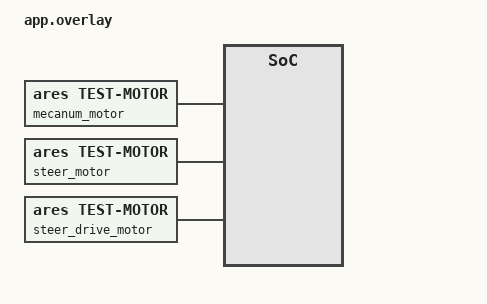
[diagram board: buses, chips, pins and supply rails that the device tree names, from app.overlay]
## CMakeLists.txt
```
# SPDX-License-Identifier: Apache-2.0

cmake_minimum_required(VERSION 3.20.0)
find_package(Zephyr REQUIRED HINTS $ENV{ZEPHYR_BASE})
project(ares_native_sim_wheel_chassis)

target_sources(app PRIVATE src/main.c)
```

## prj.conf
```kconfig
# SPDX-License-Identifier: Apache-2.0

CONFIG_ZTEST=y
CONFIG_CBPRINTF_FP_SUPPORT=y
CONFIG_MAIN_STACK_SIZE=4096

CONFIG_MOTOR=y
CONFIG_MOTOR_LOG_LEVEL=0
CONFIG_PID=y
CONFIG_CMSIS_DSP=y
CONFIG_CMSIS_DSP_FASTMATH=y
CONFIG_WHEEL=y
CONFIG_CHASSIS=y
CONFIG_CHASSIS_LOG_LEVEL=0
CONFIG_CHASSIS_INIT_PRIORITY=90
```

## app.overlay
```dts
/*
 * SPDX-License-Identifier: Apache-2.0
 */

/ {
	test_pid: test_pid {
		compatible = "pid,single";
		status = "okay";
		k_p = "1.0";
		k_i = "0.0";
		k_d = "0.0";
		out_max = "10.0";
	};

	mecanum_motor: mecanum_motor {
		compatible = "ares,test-motor";
		status = "okay";
	};

	mecanum0: mecanum0 {
		compatible = "ares,mecanum";
		status = "okay";
		wheel-motor = <&mecanum_motor>;
		wheel-radius = "0.1";
		angle-offset = "0";
		free-angle = "0";
	};

	steer_motor: steer_motor {
		compatible = "ares,test-motor";
		status = "okay";
	};

	steer_drive_motor: steer_drive_motor {
		compatible = "ares,test-motor";
		status = "okay";
	};

	steer0: steer0 {
		compatible = "ares,steerwheel";
		status = "okay";
		steer-motor = <&steer_motor>;
		wheel-motor = <&steer_drive_motor>;
		wheel-radius = "0.1";
		angle-offset = "0";
	};

	chassis_wheel0: chassis_wheel0 {
		compatible = "ares,test-wheel";
		status = "okay";
		#wheel-cells = <2>;
	};

	chassis_wheel1: chassis_wheel1 {
		compatible = "ares,test-wheel";
		status = "okay";
		#wheel-cells = <2>;
	};

	chassis_wheel2: chassis_wheel2 {
		compatible = "ares,test-wheel";
		status = "okay";
		#wheel-cells = <2>;
	};

	chassis_wheel3: chassis_wheel3 {
		compatible = "ares,test-wheel";
		status = "okay";
		#wheel-cells = <2>;
	};

	chassis0: chassis0 {
		compatible = "ares,chassis";
		status = "okay";
		angle-pid = <&test_pid>;
		max_gyro = "5.0";
		max_linear_accel = "20.0";
		wheels = <&chassis_wheel0 10000 10000>,
			 <&chassis_wheel1 10000 (-10000)>,
			 <&chassis_wheel2 (-10000) (-10000)>,
			 <&chassis_wheel3 (-10000) 10000>;
	};
};
```

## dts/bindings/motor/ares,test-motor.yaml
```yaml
# SPDX-License-Identifier: Apache-2.0

description: Test motor device

compatible: "ares,test-motor"

include: [base.yaml]
```

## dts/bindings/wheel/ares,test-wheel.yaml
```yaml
# SPDX-License-Identifier: Apache-2.0

description: Test wheel device

compatible: "ares,test-wheel"

include: [base.yaml]

wheel-cells:
  - offset_x
  - offset_y
```

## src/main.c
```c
/*
 * Copyright (c) 2026 ttwards
 *
 * SPDX-License-Identifier: Apache-2.0
 */

#include <math.h>
#include <stdbool.h>
#include <stdint.h>
#include <string.h>

#include <zephyr/device.h>
#include <zephyr/drivers/chassis.h>
#include <zephyr/drivers/motor.h>
#include <zephyr/drivers/wheel.h>
#include <zephyr/kernel.h>
#include <zephyr/ztest.h>

#define FLOAT_TOLERANCE 0.0001f

#define MECANUM_DEV          DEVICE_DT_GET(DT_NODELABEL(mecanum0))
#define MECANUM_MOTOR_DEV    DEVICE_DT_GET(DT_NODELABEL(mecanum_motor))
#define STEER_DEV            DEVICE_DT_GET(DT_NODELABEL(steer0))
#define STEER_MOTOR_DEV      DEVICE_DT_GET(DT_NODELABEL(steer_motor))
#define STEER_DRIVE_DEV      DEVICE_DT_GET(DT_NODELABEL(steer_drive_motor))
#define CHASSIS_DEV          DEVICE_DT_GET(DT_NODELABEL(chassis0))
#define CHASSIS_WHEEL0_DEV   DEVICE_DT_GET(DT_NODELABEL(chassis_wheel0))
#define CHASSIS_WHEEL1_DEV   DEVICE_DT_GET(DT_NODELABEL(chassis_wheel1))
#define CHASSIS_WHEEL2_DEV   DEVICE_DT_GET(DT_NODELABEL(chassis_wheel2))
#define CHASSIS_WHEEL3_DEV   DEVICE_DT_GET(DT_NODELABEL(chassis_wheel3))
#define EXPECTED_RPM_1MPS_R01 (RADPS_TO_RPM / 0.1f)

void cchassis_resolve(chassis_data_t *data, const chassis_cfg_t *cfg);

struct test_motor_data {
	motor_status_t status;
	motor_setpoint_t last_setpoint;
	enum motor_cmd last_cmd;
	uint32_t set_count;
	uint32_t control_count;
};

struct test_wheel_data {
	wheel_status_t status;
	wheel_status_t target;
	float last_speed;
	float last_angle;
	float last_static_angle;
	uint32_t set_speed_count;
	uint32_t set_static_count;
	uint32_t disable_count;
	int static_return;
};

static void assert_float_close(float actual, float expected)
{
	zassert_true(fabsf(actual - expected) < FLOAT_TOLERANCE, "actual=%f expected=%f",
		     (double)actual, (double)expected);
}

static struct test_motor_data *test_motor_data(const struct device *dev)
{
	return dev->data;
}

static struct test_wheel_data *test_wheel_data(const struct device *dev)
{
	return dev->data;
}

static void test_motor_reset(const struct device *dev)
{
	struct test_motor_data *data = test_motor_data(dev);
	motor_status_t status = data->status;

	memset(data, 0, sizeof(*data));
	data->status = status;
}

static void test_motor_set_status(const struct device *dev, float angle, float rpm)
{
	struct test_motor_data *data = test_motor_data(dev);

	data->status.angle = angle;
	data->status.rpm = rpm;
}

static void test_wheel_reset(const struct device *dev)
{
	struct test_wheel_data *data = test_wheel_data(dev);

	memset(data, 0, sizeof(*data));
}

static int test_motor_get(const struct device *dev, motor_status_t *status)
{
	struct test_motor_data *data = test_motor_data(dev);

	*status = data->status;
	return 0;
}

static int test_motor_set(const struct device *dev, motor_setpoint_t *setpoint)
{
	struct test_motor_data *data = test_motor_data(dev);

	data->last_setpoint = *setpoint;
	data->set_count++;
	return 0;
}

static void test_motor_control(const struct device *dev, enum motor_cmd cmd)
{
	struct test_motor_data *data = test_motor_data(dev);

	data->last_cmd = cmd;
	data->control_count++;
}

static const struct motor_driver_api test_motor_api = {
	.motor_control = test_motor_control,
	.motor_set = test_motor_set,
	.motor_get = test_motor_get,
};

#define DT_DRV_COMPAT ares_test_motor

#define TEST_MOTOR_DEFINE(inst)                                                                    \
	static struct test_motor_data test_motor_data_##inst;                                      \
	DEVICE_DT_INST_DEFINE(inst, NULL, NULL, &test_motor_data_##inst, NULL, POST_KERNEL, 80,    \
			      &test_motor_api);

DT_INST_FOREACH_STATUS_OKAY(TEST_MOTOR_DEFINE)

#undef DT_DRV_COMPAT

static void test_wheel_set_speed(const struct device *dev, float speed, float angle)
{
	struct test_wheel_data *data = test_wheel_data(dev);

	data->last_speed = speed;
	data->last_angle = angle;
	data->target.speed = speed;
	data->target.angle = angle;
	data->set_speed_count++;
}

static int test_wheel_set_static(const struct device *dev, float angle)
{
	struct test_wheel_data *data = test_wheel_data(dev);

	data->last_static_angle = angle;
	data->target.speed = 0.0f;
	data->target.angle = angle;
	data->set_static_count++;
	return data->static_return;
}

static wheel_status_t *test_wheel_get_speed(const struct device *dev)
{
	struct test_wheel_data *data = test_wheel_data(dev);

	return &data->status;
}

static wheel_status_t *test_wheel_get_target(const struct device *dev)
{
	struct test_wheel_data *data = test_wheel_data(dev);

	return &data->target;
}

static void test_wheel_disable(const struct device *dev)
{
	struct test_wheel_data *data = test_wheel_data(dev);

	data->disable_count++;
}

static const struct wheel_driver_api test_wheel_api = {
	.wheel_set_speed = test_wheel_set_speed,
	.wheel_set_static = test_wheel_set_static,
	.wheel_get_speed = test_wheel_get_speed,
	.wheel_get_target = test_wheel_get_target,
	.wheel_disable = test_wheel_disable,
};

#define DT_DRV_COMPAT ares_test_wheel

#define TEST_WHEEL_DEFINE(inst)                                                                    \
	static struct test_wheel_data test_wheel_data_##inst;                                      \
	DEVICE_DT_INST_DEFINE(inst, NULL, NULL, &test_wheel_data_##inst, NULL, POST_KERNEL, 80,    \
			      &test_wheel_api);

DT_INST_FOREACH_STATUS_OKAY(TEST_WHEEL_DEFINE)

#undef DT_DRV_COMPAT

ZTEST(ares_native_sim_wheel_chassis, test_devices_are_ready)
{
	zassert_true(device_is_ready(MECANUM_DEV));
	zassert_true(device_is_ready(MECANUM_MOTOR_DEV));
	zassert_true(device_is_ready(STEER_DEV));
	zassert_true(device_is_ready(STEER_MOTOR_DEV));
	zassert_true(device_is_ready(STEER_DRIVE_DEV));
	zassert_true(device_is_ready(CHASSIS_DEV));
	zassert_true(device_is_ready(CHASSIS_WHEEL0_DEV));
	zassert_true(device_is_ready(CHASSIS_WHEEL1_DEV));
	zassert_true(device_is_ready(CHASSIS_WHEEL2_DEV));
	zassert_true(device_is_ready(CHASSIS_WHEEL3_DEV));
}

ZTEST(ares_native_sim_wheel_chassis, test_mecanum_projects_speed_and_latches_static_angle)
{
	test_motor_reset(MECANUM_MOTOR_DEV);
	test_motor_set_status(MECANUM_MOTOR_DEV, 12.5f, 60.0f);

	wheel_set_speed(MECANUM_DEV, 2.0f, 0.0f);

	struct test_motor_data *motor = test_motor_data(MECANUM_MOTOR_DEV);
	wheel_status_t *target = wheel_get_target(MECANUM_DEV);
	wheel_status_t *status = wheel_get_speed(MECANUM_DEV);

	zassert_equal(motor->last_setpoint.mode, VO);
	zassert_equal(motor->last_setpoint.target, MOTOR_TARGET_SPEED);
	assert_float_close(target->speed, 2.0f);
	assert_float_close(motor->last_setpoint.rpm, EXPECTED_RPM_1MPS_R01 * 2.0f);
	assert_float_close(status->speed, RPM2RADPS(60.0f) * 0.1f);

	int ret = wheel_set_static(MECANUM_DEV, 45.0f);

	zassert_ok(ret);
	zassert_equal(motor->last_setpoint.target, MOTOR_TARGET_POSITION);
	assert_float_close(motor->last_setpoint.angle, 12.5f);
}

ZTEST(ares_native_sim_wheel_chassis, test_steerwheel_short_path_stop_and_disable)
{
	test_motor_reset(STEER_MOTOR_DEV);
	test_motor_reset(STEER_DRIVE_DEV);
	test_motor_set_status(STEER_MOTOR_DEV, 120.0f, 0.0f);
	test_motor_set_status(STEER_DRIVE_DEV, 0.0f, 0.0f);

	wheel_set_speed(STEER_DEV, 1.0f, 0.0f);

	struct test_motor_data *steer = test_motor_data(STEER_MOTOR_DEV);
	struct test_motor_data *drive = test_motor_data(STEER_DRIVE_DEV);
	wheel_status_t *target = wheel_get_target(STEER_DEV);

	assert_float_close(target->speed, 1.0f);
	assert_float_close(target->angle, -180.0f);
	assert_float_close(steer->last_setpoint.angle, -180.0f);
	assert_float_close(drive->last_setpoint.rpm, -EXPECTED_RPM_1MPS_R01);

	wheel_set_speed(STEER_DEV, 0.0f, 30.0f);

	target = wheel_get_target(STEER_DEV);
	assert_float_close(target->speed, 0.0f);
	assert_float_close(drive->last_setpoint.rpm, 0.0f);

	wheel_disable(STEER_DEV);

	zassert_equal(steer->last_setpoint.target, MOTOR_TARGET_TORQUE);
	zassert_equal(drive->last_setpoint.target, MOTOR_TARGET_TORQUE);
	assert_float_close(steer->last_setpoint.torque, 0.0f);
	assert_float_close(drive->last_setpoint.torque, 0.0f);
}

ZTEST(ares_native_sim_wheel_chassis, test_chassis_public_commands_and_resolve)
{
	chassis_data_t *data = CHASSIS_DEV->data;
	const chassis_cfg_t *cfg = CHASSIS_DEV->config;
	const struct device *wheels[] = {
		CHASSIS_WHEEL0_DEV,
		CHASSIS_WHEEL1_DEV,
		CHASSIS_WHEEL2_DEV,
		CHASSIS_WHEEL3_DEV,
	};

	chassis_set_speed(CHASSIS_DEV, 1.25f, -0.5f);
	assert_float_close(data->target_status.speedX, 0.5f);
	assert_float_close(data->target_status.speedY, 1.25f);

	chassis_set_gyro(CHASSIS_DEV, 2.5f);
	assert_float_close(data->target_status.gyro, 2.5f);
	zassert_false(data->angleControl);

	chassis_set_angle(CHASSIS_DEV, 45.0f);
	assert_float_close(data->target_status.angle, 45.0f);
	zassert_true(data->angleControl);

	for (size_t i = 0; i < ARRAY_SIZE(wheels); i++) {
		test_wheel_reset(wheels[i]);
	}

	data->static_angle = false;
	data->track_angle = false;
	data->set_status.speedX = 1.0f;
	data->set_status.speedY = 0.0f;
	data->set_status.gyro = 0.0f;

	cchassis_resolve(data, cfg);

	for (size_t i = 0; i < ARRAY_SIZE(wheels); i++) {
		struct test_wheel_data *wheel = test_wheel_data(wheels[i]);

		zassert_equal(wheel->set_speed_count, 1);
		assert_float_close(wheel->last_speed, 1.0f);
		assert_float_close(wheel->last_angle, 90.0f);
	}
}

ZTEST(ares_native_sim_wheel_chassis, test_chassis_static_mode_uses_wheel_static_angles)
{
	chassis_data_t *data = CHASSIS_DEV->data;
	const chassis_cfg_t *cfg = CHASSIS_DEV->config;
	const struct device *wheels[] = {
		CHASSIS_WHEEL0_DEV,
		CHASSIS_WHEEL1_DEV,
		CHASSIS_WHEEL2_DEV,
		CHASSIS_WHEEL3_DEV,
	};
	const float expected_angles[] = {
		45.0f,
		135.0f,
		225.0f,
		-45.0f,
	};

	for (size_t i = 0; i < ARRAY_SIZE(wheels); i++) {
		test_wheel_reset(wheels[i]);
	}

	data->static_angle = true;
	data->set_status.speedX = 0.0f;
	data->set_status.speedY = 0.0f;
	data->set_status.gyro = 0.0f;

	cchassis_resolve(data, cfg);

	for (size_t i = 0; i < ARRAY_SIZE(wheels); i++) {
		struct test_wheel_data *wheel = test_wheel_data(wheels[i]);

		zassert_equal(wheel->set_static_count, 1);
		zassert_equal(wheel->set_speed_count, 0);
		assert_float_close(wheel->last_static_angle, expected_angles[i]);
	}
}

ZTEST_SUITE(ares_native_sim_wheel_chassis, NULL, NULL, NULL, NULL, NULL);
```
